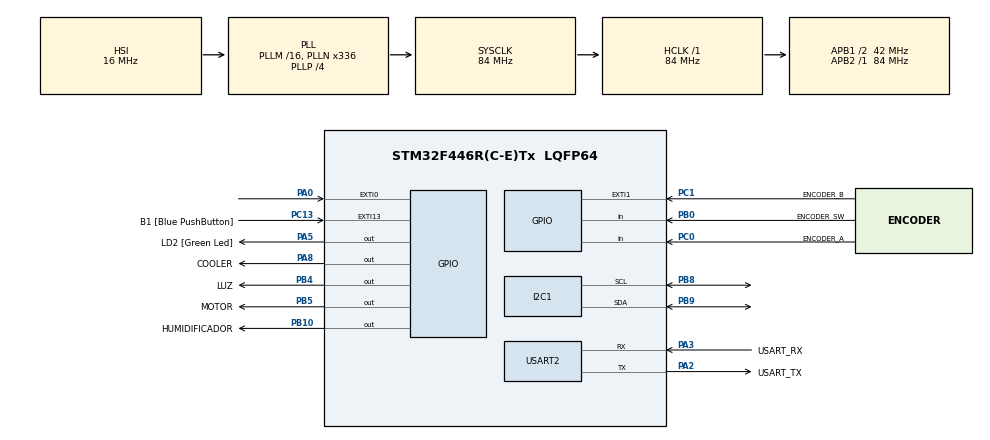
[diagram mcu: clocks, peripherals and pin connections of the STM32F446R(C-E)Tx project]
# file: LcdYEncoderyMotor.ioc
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Mcu.Family=STM32F4
FREERTOS.Queues01=menuQueue,32,uint32_t,0,Dynamic,NULL,NULL
PH0-OSC_IN.Signal=RCC_OSC_IN
VP_SYS_VS_tim6.Mode=TIM6
RCC.CortexFreq_Value=84000000
NVIC.TIM6_DAC_IRQn=true\:0\:0\:false\:false\:true\:false\:false\:true
PA14.GPIO_Label=TCK
PC0.GPIO_Label=ENCODER_A
PB0.GPIO_Label=ENCODER_SW
PC13.GPIO_Label=B1 [Blue PushButton]
RCC.SYSCLKSource=RCC_SYSCLKSOURCE_PLLCLK
ProjectManager.StackSize=0x400
NVIC.EXTI1_IRQn=true\:5\:0\:false\:false\:true\:true\:true\:true
RCC.HCLKFreq_Value=84000000
RCC.APB2TimFreq_Value=84000000
RCC.AHBFreq_Value=84000000
PH0-OSC_IN.Mode=HSE-External-Clock-Source
RCC.HSE_VALUE=8000000
PA14.Mode=Serial_Wire
PA8.Signal=GPIO_Output
VP_FREERTOS_VS_CMSIS_V1.Mode=CMSIS_V1
RCC.FLatency-AdvancedSettings=FLASH_LATENCY_2
PH1-OSC_OUT.Mode=HSE-External-Clock-Source
PB9.Signal=I2C1_SDA
Mcu.Package=LQFP64
NVIC.TimeBase=TIM6_DAC_IRQn
USART2.VirtualMode=VM_ASYNC
PA2.GPIO_Label=USART_TX
NVIC.TimeBaseIP=TIM6
PB5.GPIO_Label=MOTOR
RCC.APB1TimFreq_Value=84000000
PC0.GPIO_PuPd=GPIO_NOPULL
PB4.Signal=GPIO_Output
PA3.Signal=USART2_RX
PB3.GPIO_Label=SWO
FREERTOS.Tasks01=menuTask,0,512,StartMenuTask,Default,NULL,Dynamic,NULL,NULL;debounceTask,-3,128,StartDebounceTask,Default,NULL,Dynamic,NULL,NULL;MotorTask,-3,128,StartMotorTask,Default,NULL,Dynamic,NULL,NULL
PC13.Signal=GPXTI13
FREERTOS.configCHECK_FOR_STACK_OVERFLOW=2
PC0.Signal=GPIO_Input
RCC.APB1CLKDivider=RCC_HCLK_DIV2
PC14-OSC32_IN.Signal=RCC_OSC32_IN
PA0-WKUP.Signal=GPXTI0
PA3.Mode=Asynchronous
PA13.Signal=SYS_JTMS-SWDIO
PA8.GPIO_Label=COOLER
ProjectManager.TargetToolchain=STM32CubeIDE
PB10.GPIO_Label=HUMIDIFICADOR
PB9.Mode=I2C
RCC.USBFreq_Value=168000000
RCC.LSE_VALUE=32768
PC15-OSC32_OUT.Signal=RCC_OSC32_OUT
PB10.Signal=GPIO_Output
PA5.Signal=GPIO_Output
board=NUCLEO-F446RE
RCC.VCOOutputFreq_Value=336000000
RCC.APB2Freq_Value=84000000
PB4.GPIO_Label=LUZ
PC1.GPIO_Label=ENCODER_B
PH1-OSC_OUT.Signal=RCC_OSC_OUT
PA13.Mode=Serial_Wire
Mcu.Name=STM32F446R(C-E)Tx
PA2.Signal=USART2_TX
PA13.GPIO_Label=TMS
PB3.Signal=SYS_JTDO-SWO
NVIC.EXTI0_IRQn=true\:5\:0\:false\:false\:true\:true\:true\:true
RCC.SYSCLKFreq_VALUE=84000000
PB5.Signal=GPIO_Output
PA5.GPIO_Label=LD2 [Green Led]
PC13.GPIO_ModeDefaultEXTI=GPIO_MODE_IT_FALLING
PA14.Signal=SYS_JTCK-SWCLK
ProjectManager.HeapSize=0x200
RCC.HSI_VALUE=16000000
PA8.GPIO_PuPd=GPIO_PULLUP
RCC.PLLP=RCC_PLLP_DIV4
NVIC.PriorityGroup=NVIC_PRIORITYGROUP_4
PB8.Mode=I2C
RCC.PLLN=336
PA2.Mode=Asynchronous
PB8.Signal=I2C1_SCL
RCC.APB1Freq_Value=42000000
PB0.Signal=GPIO_Input
PC1.Signal=GPXTI1
PB0.GPIO_PuPd=GPIO_PULLUP
PA3.GPIO_Label=USART_RX

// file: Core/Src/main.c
/* USER CODE BEGIN Header */
/**
  ******************************************************************************
  * @file           : main.c
  * @brief          : Firmware Incubadora - Final (Lógica Control + Flash + UI Config)
  * - Integración completa de persistencia en Flash (Sector 7 F446RE).
  * - Control de Temperatura con Soft-PWM.
  * - Control de Humedad por estados.
  * - Menú de Configuración editable.
  * - Corrección de brillo LCD (Update on Change).
  ******************************************************************************
  */
/* USER CODE END Header */
#include "main.h"
#include "cmsis_os.h"

/* USER CODE BEGIN Includes */
#include "i2c-lcd.h"
#include <stdio.h>
#include <string.h> // Necesario para memcpy
#include "FreeRTOS.h"
#include "task.h"
/* USER CODE END Includes */

/* USER CODE BEGIN PTD */
typedef enum {
    ENCODER_RIGHT,
    ENCODER_LEFT,
    BUTTON_PRESS,
    BUTTON_LONG_PRESS
} MenuEvent_t;

typedef struct {
    char* name;          // Nombre a mostrar
    uint8_t state;       // 0 = OFF, 1 = ON
    GPIO_TypeDef* port;  // Puerto GPIO
    uint16_t pin;        // Pin GPIO
} OutputControl_t;

typedef enum {
    UI_MODE_DASHBOARD,
    UI_MODE_MAIN_MENU,
    UI_MODE_TEST_MENU,
    UI_MODE_CONFIG_EDIT
} UIMode_t;

typedef enum {
    HUM_STATE_IDLE,      // Esperando
    HUM_STATE_DOSING,    // Inyectando humedad
    HUM_STATE_COOLDOWN   // Esperando estabilización
} HumidifierState_t;

typedef struct {
    char name[12];      // "DESARROLLO"
    uint8_t end_day;    // Fin de etapa (ej. 18)
    float temp_target;  // Ej. 37.7
    float hum_target;   // Ej. 55.0
    uint8_t motor_on;   // 1 = Volteo activo
} StageConfig_t;

typedef struct {
    uint8_t total_days;      // Ciclo total (21)
    StageConfig_t stages[2]; // [0]=Desarrollo, [1]=Eclosión

    // Estado Persistente
    uint8_t is_running;         // 0=Stop, 1=Run
    uint32_t saved_timestamp;   // Minutos acumulados guardados
    uint32_t last_boot_tick;    // Referencia de tiempo (HAL_GetTick)

    // Auxiliar UI
    uint8_t current_stage_idx;  // Qué etapa estamos editando
} IncubatorData_t;

/* USER CODE END PTD */

/* USER CODE BEGIN PD */

#define DEBOUNCE_POLL_RATE_MS   5
#define DEBOUNCE_THRESHOLD      4
#define LCD_ROWS 2

// --- NUEVOS DEFINES (ESTABILIDAD & MOTOR) ---
#define LONG_PRESS_MS           2000
#define LONG_PRESS_TICKS        (LONG_PRESS_MS / DEBOUNCE_POLL_RATE_MS)
#define LCD_COMMAND_DELAY       5
#define MIN_DRAW_INTERVAL_MS    50

// --- CONFIG MOTOR (PA0) ---
#define MOTOR_SENSOR_PIN        GPIO_PIN_0
#define MOTOR_SENSOR_PORT       GPIOA
#define ENCODER_SLOTS           20
#define MOTOR_CALC_INTERVAL_MS  1000

// --- CONTROL DEFINES ---
#define DHT_READ_INTERVAL_MS    30000   // Leer sensor cada 30 seg
#define CONTROL_LOOP_MS         1000    // Recalcular lógica cada 1 seg
#define HUM_DOSE_TIME_MS        10000   // Humidificador ON 10 seg
#define HUM_COOLDOWN_TIME_MS    300000  // Espera 5 min

// EEPROM --------------

#define FLASH_USER_START_ADDR 0x08060000 // Sector 7 (F446RE)

/* USER CODE END PD */

IncubatorData_t sysData;

// Configuración de Salidas (CAMBIAR PINES SEGUN TU PLACA)
// Orden: [0]=COOLER, [1]=HUMIDIFICADOR, [2]=LUZ(CALOR), [3]=MOTOR
OutputControl_t test_outputs[] = {
    {"COOLER", 0, GPIOA, GPIO_PIN_8},  // Index 0: PA8
    {"HUMID.", 0, GPIOB, GPIO_PIN_10}, // Index 1: PB10
    {"LUZ   ", 0, GPIOB, GPIO_PIN_4},  // Index 2: PB4
    {"MOTOR ", 0, GPIOB, GPIO_PIN_5}   // Index 3: PB5
};
const int8_t test_menu_size = 4;
int8_t test_selected_item = 0;
int8_t test_top_item = 0;

I2C_HandleTypeDef hi2c1;

UART_HandleTypeDef huart2;

osThreadId menuTaskHandle;
osThreadId debounceTaskHandle;
osThreadId MotorTaskHandle;
osThreadId ControlTaskHandle; // Handle para la nueva tarea
osMessageQId menuQueueHandle;

/* USER CODE BEGIN PV */
// --- TUS VARIABLES ORIGINALES (Menú Simple) ---
char* menu_items[] = {"Ver Sensores", "Configuracion", "TEST"};
int8_t selected_item = 0;
const int8_t menu_size = 3;
int8_t menu_top_item = 0;

// --- VARIABLES DE SISTEMA ---
UIMode_t current_ui_mode = UI_MODE_DASHBOARD;
volatile uint32_t motor_pulse_count = 0;
uint16_t global_rpm = 0;

// Variables Config Edit
int8_t config_item = 0;
int8_t is_editing_val = 0;

// --- VARIABLES DE CONTROL ---
float current_temp = 0.0f;
float current_hum = 0.0f;
float last_valid_temp = 0.0f;
float last_valid_hum = 0.0f;
uint32_t last_dht_read_time = 0;
HumidifierState_t hum_state = HUM_STATE_IDLE;
/* USER CODE END PV */

void SystemClock_Config(void);
static void MX_GPIO_Init(void);
static void MX_I2C1_Init(void);
static void MX_USART2_UART_Init(void);
void StartMenuTask(void const * argument);
void StartDebounceTask(void const * argument);
void StartMotorTask(void const * argument);
void StartControlTask(void const * argument);

/* USER CODE BEGIN PFP */
void I2C_Scan(void);
void Enable_Internal_Pullups(void);
void recover_lcd(void);
void update_display(void);
void render_dashboard(void);
void render_menu(void);
void render_test_menu(void);
void render_config_edit(void);
void toggle_output(int index);

void Load_Config_From_Flash(void);
void Save_Config_To_Flash(void);

uint8_t Get_Current_Day(void);
void Get_Active_Targets(float *temp, float *hum, uint8_t *motor_on);

/* USER CODE END PFP */

/* USER CODE BEGIN 0 */

// --- FUNCIONES AUXILIARES ---

void Enable_Internal_Pullups(void) {
    GPIO_InitTypeDef GPIO_InitStruct = {0};
    __HAL_RCC_GPIOB_CLK_ENABLE();
    GPIO_InitStruct.Pin = GPIO_PIN_8 | GPIO_PIN_9;
    GPIO_InitStruct.Mode = GPIO_MODE_AF_OD;
    GPIO_InitStruct.Pull = GPIO_PULLUP;
    GPIO_InitStruct.Speed = GPIO_SPEED_FREQ_VERY_HIGH;
    GPIO_InitStruct.Alternate = GPIO_AF4_I2C1;
    HAL_GPIO_Init(GPIOB, &GPIO_InitStruct);
}

void recover_lcd(void) {
    HD44780_Init(2);
    HD44780_Clear();
    osDelay(50);
    HD44780_SetCursor(0, 0);
    HD44780_PrintStr("! PANIC RESET ! ");
    osDelay(1000);
    HD44780_Clear();
    update_display();
}

void I2C_Scan(void) {
    char info[] = "Escaneando bus I2C...\r\n";
    HAL_UART_Transmit(&huart2, (uint8_t*)info, sizeof(info) - 1, 100);
    HAL_StatusTypeDef res;
    for(uint16_t i = 0; i < 128; i++) {
        res = HAL_I2C_IsDeviceReady(&hi2c1, (uint16_t)(i << 1), 1, 10);
        if(res == HAL_OK) {
            char msg[64];
            snprintf(msg, sizeof(msg), "-> Disp: 0x%02X\r\n", i);
            HAL_UART_Transmit(&huart2, (uint8_t*)msg, strlen(msg), 100);
        }
    }
    char end_info[] = "Fin del escaneo.\r\n";
    HAL_UART_Transmit(&huart2, (uint8_t*)end_info, sizeof(end_info) - 1, 100);
}

// --- GESTIÓN DE MEMORIA FLASH (PERSISTENCIA) ---

void Load_Config_From_Flash(void) {
    IncubatorData_t *flash_data = (IncubatorData_t *)FLASH_USER_START_ADDR;

    // Chequeamos si la memoria está virgen (0xFF) o corrupta
    if (flash_data->total_days == 0xFF || flash_data->stages[0].temp_target > 100.0f) {
        // --- VALORES DE FÁBRICA ---
        sysData.total_days = 21;

        // Etapa 0: Desarrollo
        snprintf(sysData.stages[0].name, 12, "DESARROLLO");
        sysData.stages[0].end_day = 18;
        sysData.stages[0].temp_target = 37.7f;
        sysData.stages[0].hum_target = 55.0f;
        sysData.stages[0].motor_on = 1;

        // Etapa 1: Eclosión
        snprintf(sysData.stages[1].name, 12, "ECLOSION");
        sysData.stages[1].end_day = 21;
        sysData.stages[1].temp_target = 37.2f;
        sysData.stages[1].hum_target = 70.0f;
        sysData.stages[1].motor_on = 0;

        sysData.is_running = 0;
        sysData.saved_timestamp = 0;
    } else {
        // Copiar datos guardados a RAM
        memcpy(&sysData, flash_data, sizeof(IncubatorData_t));
    }
    sysData.last_boot_tick = HAL_GetTick();
}

void Save_Config_To_Flash(void) {
    HAL_FLASH_Unlock();

    FLASH_EraseInitTypeDef EraseInitStruct;
    uint32_t SectorError = 0;

    EraseInitStruct.TypeErase = FLASH_TYPEERASE_SECTORS;
    EraseInitStruct.VoltageRange = FLASH_VOLTAGE_RANGE_3;
    EraseInitStruct.Sector = FLASH_SECTOR_7;
    EraseInitStruct.NbSectors = 1;

    if (HAL_FLASHEx_Erase(&EraseInitStruct, &SectorError) != HAL_OK) {
        HAL_FLASH_Lock();
        return;
    }

    uint32_t address = FLASH_USER_START_ADDR;
    uint32_t *data_ptr = (uint32_t *)&sysData;

    // Actualizar tiempo acumulado antes de guardar
    if (sysData.is_running) {
        uint32_t current_session_min = (HAL_GetTick() - sysData.last_boot_tick) / 60000;
        sysData.saved_timestamp += current_session_min;
        sysData.last_boot_tick = HAL_GetTick();
    }

    for (int i = 0; i < sizeof(IncubatorData_t); i += 4) {
        HAL_FLASH_Program(FLASH_TYPEPROGRAM_WORD, address, *data_ptr);
        address += 4;
        data_ptr++;
    }
    HAL_FLASH_Lock();
}

// --- LÓGICA DE TIEMPO ---

uint8_t Get_Current_Day(void) {
    if (!sysData.is_running) return 0;
    uint32_t session_mins = (HAL_GetTick() - sysData.last_boot_tick) / 60000;
    uint32_t total_mins = sysData.saved_timestamp + session_mins;
    uint8_t day = (total_mins / 1440) + 1; // 1440 min = 1 dia
    return day;
}

void Get_Active_Targets(float *temp, float *hum, uint8_t *motor_on) {
    uint8_t day = Get_Current_Day();
    if (day == 0) {
        *temp = 0; *hum = 0; *motor_on = 0;
        return;
    }
    // Si estamos en etapa de desarrollo
    if (day <= sysData.stages[0].end_day) {
        *temp = sysData.stages[0].temp_target;
        *hum = sysData.stages[0].hum_target;
        *motor_on = sysData.stages[0].motor_on;
    }
    else {
        // Eclosión o fin
        *temp = sysData.stages[1].temp_target;
        *hum = sysData.stages[1].hum_target;
        *motor_on = sysData.stages[1].motor_on;
    }
}

// --- HARDWARE HELPERS ---
void toggle_output(int index) {
    if(index < 0 || index >= test_menu_size) return;
    test_outputs[index].state = !test_outputs[index].state;
    HAL_GPIO_WritePin(test_outputs[index].port, test_outputs[index].pin,
                      test_outputs[index].state ? GPIO_PIN_SET : GPIO_PIN_RESET);
}

// --- RENDERIZADO DASHBOARD (RPM) ---
void render_dashboard(void) {
    char buffer[20];
    float target_t = 0; float target_h = 0; uint8_t mon = 0;

    if (sysData.is_running) {
        Get_Active_Targets(&target_t, &target_h, &mon);
        // T:37.7/37.7
        snprintf(buffer, sizeof(buffer), "T:%04.1f/%04.1f    ", current_temp, target_t);
    } else {
        snprintf(buffer, sizeof(buffer), "T:%04.1f (PAUSA) ", current_temp);
    }

    HD44780_SetCursor(0, 0);
    HD44780_PrintStr(buffer);

    // Línea 2
    char hum_char = ' ';
    if (hum_state == HUM_STATE_DOSING) hum_char = '*';
    if (hum_state == HUM_STATE_COOLDOWN) hum_char = 'w';

    if (sysData.is_running) {
        snprintf(buffer, sizeof(buffer), "H:%02.0f%% %c D:%d  ", current_hum, hum_char, Get_Current_Day());
    } else {
        snprintf(buffer, sizeof(buffer), "H:%02.0f%% STANDBY ", current_hum);
    }

    HD44780_SetCursor(0, 1);
    HD44780_PrintStr(buffer);
}

// --- RENDERIZADO MENÚ (Tu lógica original segura) ---
void render_menu(void) {
    char line_buffer[32];
    for (int i = 0; i < LCD_ROWS; i++) {
        int item_index = menu_top_item + i;
        if (item_index < menu_size) {
            char cursor = (item_index == selected_item) ? '>' : ' ';
            // Se usa tu array de char* menu_items
            snprintf(line_buffer, sizeof(line_buffer), "%c%-15.15s", cursor, menu_items[item_index]);
        } else {
            snprintf(line_buffer, sizeof(line_buffer), "%-16s", " ");
        }
        HD44780_SetCursor(0, i);
        HD44780_PrintStr(line_buffer);
        // ELIMINADO: osDelay(LCD_COMMAND_DELAY); (Causa problemas en critical section)
    }
}

void render_test_menu(void) {
    char line_buffer[20];
    for (int i = 0; i < LCD_ROWS; i++) {
        int item_index = test_top_item + i;
        if (item_index < test_menu_size) {
            char cursor = (item_index == test_selected_item) ? '>' : ' ';
            char state_char = (test_outputs[item_index].state) ? 'X' : ' ';
            snprintf(line_buffer, sizeof(line_buffer), "%c[%c] %-9s",
                     cursor, state_char, test_outputs[item_index].name);
        } else {
            snprintf(line_buffer, sizeof(line_buffer), "%-16s", " ");
        }
        HD44780_SetCursor(0, i);
        HD44780_PrintStr(line_buffer);
    }
}

void render_config_edit(void) {
    char line1[20];
    char line2[20];
    StageConfig_t *stage = &sysData.stages[sysData.current_stage_idx];

    // L1: Título
    snprintf(line1, sizeof(line1), "CFG: %s", stage->name);

    // L2: Parámetro
    char value_str[12];
    switch(config_item) {
        case 0: snprintf(value_str, sizeof(value_str), "FinDia:%d", stage->end_day); break;
        case 1: snprintf(value_str, sizeof(value_str), "T:%.1f", stage->temp_target); break;
        case 2: snprintf(value_str, sizeof(value_str), "H:%.0f%%", stage->hum_target); break;
        case 3: snprintf(value_str, sizeof(value_str), "Mot:%s", stage->motor_on ? "ON" : "OFF"); break;
        case 4: snprintf(value_str, sizeof(value_str), "[SALIR]"); break;
    }

    if (is_editing_val && config_item != 4) {
        snprintf(line2, sizeof(line2), "%s <ADJ>", value_str);
    } else {
        snprintf(line2, sizeof(line2), "%c %s", (config_item == 4 ? '>' : ' '), value_str);
    }

    HD44780_SetCursor(0, 0);
    HD44780_PrintStr(line1);
    HD44780_SetCursor(0, 1);
    HD44780_PrintStr(line2);
}

void update_display()
{
    taskENTER_CRITICAL();
    if (current_ui_mode == UI_MODE_DASHBOARD) {
        render_dashboard();
    } else if (current_ui_mode == UI_MODE_MAIN_MENU) {
        render_menu();
    } else if (current_ui_mode == UI_MODE_TEST_MENU) {
        render_test_menu();
    } else if (current_ui_mode == UI_MODE_CONFIG_EDIT) {
        render_config_edit();
    }
    taskEXIT_CRITICAL();
}
/* USER CODE END 0 */

int main(void)
{

  /* MCU Configuration--------------------------------------------------------*/

  /* Reset of all peripherals, Initializes the Flash interface and the Systick. */
   HAL_Init();

  /* Configure the system clock */
  SystemClock_Config();

  /* Initialize all configured peripherals */
  MX_GPIO_Init();
  MX_I2C1_Init();
  MX_USART2_UART_Init();
  /* USER CODE BEGIN 2 */
  HAL_GPIO_WritePin(LD2_GPIO_Port, LD2_Pin, GPIO_PIN_SET);

  Enable_Internal_Pullups(); // Anti-ruido I2C
  I2C_Scan();                // Escaneo

  // Cargar configuración guardada
  Load_Config_From_Flash();

  HD44780_Init(2);
  HD44780_Clear();

  HD44780_SetCursor(0, 0);
  HD44780_PrintStr("TDII: INCUBADORA");

  HAL_Delay(1000);
  HD44780_SetCursor(0, 0);
  HD44780_PrintStr("                ");

  /* USER CODE END 2 */

  /* Create the queue(s) */
  osMessageQDef(menuQueue, 32, uint32_t);
  menuQueueHandle = osMessageCreate(osMessageQ(menuQueue), NULL);

  /* Create the thread(s) */
  osThreadDef(menuTask, StartMenuTask, osPriorityNormal, 0, 1024);
  menuTaskHandle = osThreadCreate(osThread(menuTask), NULL);

  osThreadDef(debounceTask, StartDebounceTask, osPriorityIdle, 0, 128);
  debounceTaskHandle = osThreadCreate(osThread(debounceTask), NULL);

  osThreadDef(MotorTask, StartMotorTask, osPriorityNormal, 0, 256);
  MotorTaskHandle = osThreadCreate(osThread(MotorTask), NULL);

  // Nueva Tarea de Control
  osThreadDef(ControlTask, StartControlTask, osPriorityNormal, 0, 512);
  ControlTaskHandle = osThreadCreate(osThread(ControlTask), NULL);

  /* Start scheduler */
  osKernelStart();

  /* We should never get here as control is now taken by the scheduler */
  while (1)
  {
  }
}

void SystemClock_Config(void)
{
  RCC_OscInitTypeDef RCC_OscInitStruct = {0};
  RCC_ClkInitTypeDef RCC_ClkInitStruct = {0};

  __HAL_RCC_PWR_CLK_ENABLE();
  __HAL_PWR_VOLTAGESCALING_CONFIG(PWR_REGULATOR_VOLTAGE_SCALE3);
  RCC_OscInitStruct.OscillatorType = RCC_OSCILLATORTYPE_HSI;
  RCC_OscInitStruct.HSIState = RCC_HSI_ON;
  RCC_OscInitStruct.HSICalibrationValue = RCC_HSICALIBRATION_DEFAULT;
  RCC_OscInitStruct.PLL.PLLState = RCC_PLL_ON;
  RCC_OscInitStruct.PLL.PLLSource = RCC_PLLSOURCE_HSI;
  RCC_OscInitStruct.PLL.PLLM = 16;
  RCC_OscInitStruct.PLL.PLLN = 336;
  RCC_OscInitStruct.PLL.PLLP = RCC_PLLP_DIV4;
  RCC_OscInitStruct.PLL.PLLQ = 2;
  RCC_OscInitStruct.PLL.PLLR = 2;
  if (HAL_RCC_OscConfig(&RCC_OscInitStruct) != HAL_OK)
  {
    Error_Handler();
  }
  RCC_ClkInitStruct.ClockType = RCC_CLOCKTYPE_HCLK|RCC_CLOCKTYPE_SYSCLK
                              |RCC_CLOCKTYPE_PCLK1|RCC_CLOCKTYPE_PCLK2;
  RCC_ClkInitStruct.SYSCLKSource = RCC_SYSCLKSOURCE_PLLCLK;
  RCC_ClkInitStruct.AHBCLKDivider = RCC_SYSCLK_DIV1;
  RCC_ClkInitStruct.APB1CLKDivider = RCC_HCLK_DIV2;
  RCC_ClkInitStruct.APB2CLKDivider = RCC_HCLK_DIV1;

  if (HAL_RCC_ClockConfig(&RCC_ClkInitStruct, FLASH_LATENCY_2) != HAL_OK)
  {
    Error_Handler();
  }
}

static void MX_I2C1_Init(void)
{
  hi2c1.Instance = I2C1;
  hi2c1.Init.ClockSpeed = 100000;
  hi2c1.Init.DutyCycle = I2C_DUTYCYCLE_2;
  hi2c1.Init.OwnAddress1 = 0;
  hi2c1.Init.AddressingMode = I2C_ADDRESSINGMODE_7BIT;
  hi2c1.Init.DualAddressMode = I2C_DUALADDRESS_DISABLE;
  hi2c1.Init.OwnAddress2 = 0;
  hi2c1.Init.GeneralCallMode = I2C_GENERALCALL_DISABLE;
  hi2c1.Init.NoStretchMode = I2C_NOSTRETCH_DISABLE;
  if (HAL_I2C_Init(&hi2c1) != HAL_OK)
  {
    Error_Handler();
  }
}

static void MX_USART2_UART_Init(void)
{
  huart2.Instance = USART2;
  huart2.Init.BaudRate = 115200;
  huart2.Init.WordLength = UART_WORDLENGTH_8B;
  huart2.Init.StopBits = UART_STOPBITS_1;
  huart2.Init.Parity = UART_PARITY_NONE;
  huart2.Init.Mode = UART_MODE_TX_RX;
  huart2.Init.HwFlowCtl = UART_HWCONTROL_NONE;
  huart2.Init.OverSampling = UART_OVERSAMPLING_16;
  if (HAL_UART_Init(&huart2) != HAL_OK)
  {
    Error_Handler();
  }
}

static void MX_GPIO_Init(void)
{
  GPIO_InitTypeDef GPIO_InitStruct = {0};

  __HAL_RCC_GPIOC_CLK_ENABLE();
  __HAL_RCC_GPIOH_CLK_ENABLE();
  __HAL_RCC_GPIOA_CLK_ENABLE();
  __HAL_RCC_GPIOB_CLK_ENABLE();

  /* Configure GPIO pin Output Level */
  HAL_GPIO_WritePin(LD2_GPIO_Port, LD2_Pin, GPIO_PIN_RESET);

  /* Configure GPIO pin Output Level - INICIO PINES ACTUADORES */
  // Aseguramos que arranquen apagados (Low)
  HAL_GPIO_WritePin(GPIOA, GPIO_PIN_8, GPIO_PIN_RESET);
  HAL_GPIO_WritePin(GPIOB, GPIO_PIN_10|GPIO_PIN_4|GPIO_PIN_5, GPIO_PIN_RESET);

  /* Configure GPIO pin : B1_Pin */
  GPIO_InitStruct.Pin = B1_Pin;
  GPIO_InitStruct.Mode = GPIO_MODE_IT_FALLING;
  GPIO_InitStruct.Pull = GPIO_NOPULL;
  HAL_GPIO_Init(B1_GPIO_Port, &GPIO_InitStruct);

  /* Configure GPIO pins : PA8 (COOLER) */
  GPIO_InitStruct.Pin = GPIO_PIN_8;
  GPIO_InitStruct.Mode = GPIO_MODE_OUTPUT_PP;
  GPIO_InitStruct.Pull = GPIO_NOPULL;
  GPIO_InitStruct.Speed = GPIO_SPEED_FREQ_LOW;
  HAL_GPIO_Init(GPIOA, &GPIO_InitStruct);

  /* Configure GPIO pins : PB10 (HUMID), PB4 (LUZ), PB5 (MOTOR) */
  GPIO_InitStruct.Pin = GPIO_PIN_10|GPIO_PIN_4|GPIO_PIN_5;
  GPIO_InitStruct.Mode = GPIO_MODE_OUTPUT_PP;
  GPIO_InitStruct.Pull = GPIO_NOPULL;
  GPIO_InitStruct.Speed = GPIO_SPEED_FREQ_LOW;
  HAL_GPIO_Init(GPIOB, &GPIO_InitStruct);

  /* Configure GPIO pins : ENCODER_A_Pin ENCODER_B_Pin */
  GPIO_InitStruct.Pin = ENCODER_A_Pin|ENCODER_B_Pin;
  GPIO_InitStruct.Mode = GPIO_MODE_IT_RISING;
  GPIO_InitStruct.Pull = GPIO_NOPULL;
  HAL_GPIO_Init(GPIOC, &GPIO_InitStruct);

  /* Configure GPIO pin : LD2_Pin */
  GPIO_InitStruct.Pin = LD2_Pin;
  GPIO_InitStruct.Mode = GPIO_MODE_OUTPUT_PP;
  GPIO_InitStruct.Pull = GPIO_NOPULL;
  GPIO_InitStruct.Speed = GPIO_SPEED_FREQ_LOW;
  HAL_GPIO_Init(LD2_GPIO_Port, &GPIO_InitStruct);

  /* Configure GPIO pin : ENCODER_SW_Pin */
  GPIO_InitStruct.Pin = ENCODER_SW_Pin;
  GPIO_InitStruct.Mode = GPIO_MODE_INPUT;
  GPIO_InitStruct.Pull = GPIO_PULLUP;
  HAL_GPIO_Init(ENCODER_SW_GPIO_Port, &GPIO_InitStruct);

  /* Configure GPIO pin : MOTOR_SENSOR_PIN */
  GPIO_InitStruct.Pin = MOTOR_SENSOR_PIN;
  GPIO_InitStruct.Mode = GPIO_MODE_IT_RISING;
  GPIO_InitStruct.Pull = GPIO_NOPULL;
  HAL_GPIO_Init(MOTOR_SENSOR_PORT, &GPIO_InitStruct);

  /* EXTI interrupt init*/
  HAL_NVIC_SetPriority(EXTI0_IRQn, 0, 0);
  HAL_NVIC_EnableIRQ(EXTI0_IRQn);

  HAL_NVIC_SetPriority(EXTI1_IRQn, 5, 0);
  HAL_NVIC_EnableIRQ(EXTI1_IRQn);
}

/* USER CODE BEGIN 4 */

void vApplicationStackOverflowHook(TaskHandle_t xTask, char *pcTaskName)
{
   while(1)
   {
      HAL_GPIO_TogglePin(LD2_GPIO_Port, LD2_Pin);
      HAL_Delay(50);
   }
}

void HAL_GPIO_EXTI_Callback(uint16_t GPIO_Pin)
{
    if (GPIO_Pin == MOTOR_SENSOR_PIN) {
        motor_pulse_count++;
        return;
    }

    if (GPIO_Pin == ENCODER_A_Pin || GPIO_Pin == ENCODER_B_Pin) {
        static uint8_t last_state = 0;
        static int8_t counter = 0;

        uint8_t state_A = HAL_GPIO_ReadPin(ENCODER_A_GPIO_Port, ENCODER_A_Pin);
        uint8_t state_B = HAL_GPIO_ReadPin(ENCODER_B_GPIO_Port, ENCODER_B_Pin);
        uint8_t current_state = (state_A << 1) | state_B;

        if (current_state == last_state) return;

        const int8_t transition_table[16] = {
             0, -1,  1,  0,
             1,  0,  0, -1,
            -1,  0,  0,  1,
             0,  1, -1,  0,
        };

        int8_t transition = transition_table[(last_state << 2) | current_state];

        if (transition != 0) {
            counter += transition;
            if (counter >= 4) {
                MenuEvent_t event = ENCODER_RIGHT;
                osMessagePut(menuQueueHandle, (uint32_t)event, 0);
                counter -= 4;
            } else if (counter <= -4) {
                MenuEvent_t event = ENCODER_LEFT;
                osMessagePut(menuQueueHandle, (uint32_t)event, 0);
                counter += 4;
            }
        }
        last_state = current_state;
    }
}

/* USER CODE END 4 */

/* USER CODE BEGIN Header_StartMenuTask */
void StartMenuTask(void const * argument)
{
  /* USER CODE BEGIN 5 */
    update_display();

    osEvent event;
    uint32_t last_draw_time = 0;
    int needs_update = 0;

    // Variables para "Update on Change" del Dashboard
    float last_disp_temp = -999.0f;
    float last_disp_hum = -999.0f;
    uint16_t last_disp_rpm = 9999;
    HumidifierState_t last_disp_hum_state = HUM_STATE_IDLE;
    uint8_t last_disp_day = 255;
    uint8_t last_disp_is_running = 255;

    for(;;)
    {
        // Timeout de 200ms para chequear cambios frecuentemente sin saturar I2C
        event = osMessageGet(menuQueueHandle, 200);

        if (event.status == osEventMessage) {
            MenuEvent_t initial_event = (MenuEvent_t)event.value.v;

            if (initial_event == BUTTON_LONG_PRESS) {
                // Volver atrás / Reset
                if (current_ui_mode == UI_MODE_TEST_MENU || current_ui_mode == UI_MODE_CONFIG_EDIT) {
                    current_ui_mode = UI_MODE_MAIN_MENU;
                } else if (current_ui_mode == UI_MODE_MAIN_MENU) {
                    current_ui_mode = UI_MODE_DASHBOARD;
                }
                needs_update = 1;
                continue;
            }

            int8_t net_movement = 0;
            int button_pressed = 0;

            if (initial_event == ENCODER_RIGHT) net_movement++;
            else if (initial_event == ENCODER_LEFT) net_movement--;
            else if (initial_event == BUTTON_PRESS) button_pressed = 1;

            int batch_limit = 20;
            while (batch_limit-- > 0 && (event = osMessageGet(menuQueueHandle, 0)).status == osEventMessage) {
                MenuEvent_t batch_evt = (MenuEvent_t)event.value.v;
                if (batch_evt == ENCODER_RIGHT) net_movement++;
                else if (batch_evt == ENCODER_LEFT) net_movement--;
            }

            // --- LÓGICA DE INTERFAZ ---

            if (current_ui_mode == UI_MODE_DASHBOARD) {
                if (button_pressed) {
                    current_ui_mode = UI_MODE_MAIN_MENU;
                    selected_item = 0;
                    needs_update = 1;
                }
            }
            else if (current_ui_mode == UI_MODE_MAIN_MENU) {
                // Navegación Menú Principal
                if (net_movement != 0) {
                    int16_t new_pos = selected_item + net_movement;
                    selected_item = ((new_pos % menu_size) + menu_size) % menu_size;

                    if (selected_item >= menu_top_item + LCD_ROWS) menu_top_item = selected_item - (LCD_ROWS - 1);
                    else if (selected_item < menu_top_item) menu_top_item = selected_item;
                    needs_update = 1;
                }
                if (button_pressed) {
                    if (selected_item == 1) { // Configuracion
                        current_ui_mode = UI_MODE_CONFIG_EDIT;
                        sysData.current_stage_idx = 0; // Default Etapa 1
                        config_item = 0;
                        is_editing_val = 0;
                    } else if (selected_item == 2) { // Test
                        current_ui_mode = UI_MODE_TEST_MENU;
                        test_selected_item = 0;
                    } else { // Ver Sensores (Volver)
                        current_ui_mode = UI_MODE_DASHBOARD;
                    }
                    needs_update = 1;
                }
            }
            else if (current_ui_mode == UI_MODE_TEST_MENU) {
                // Menú Test
                if (net_movement != 0) {
                    int16_t new_pos = test_selected_item + net_movement;
                    test_selected_item = ((new_pos % test_menu_size) + test_menu_size) % test_menu_size;
                    if (test_selected_item >= test_top_item + LCD_ROWS) test_top_item = test_selected_item - (LCD_ROWS - 1);
                    else if (test_selected_item < test_top_item) test_top_item = test_selected_item;
                    needs_update = 1;
                }
                if (button_pressed) {
                    toggle_output(test_selected_item);
                    needs_update = 1;
                }
            }
            else if (current_ui_mode == UI_MODE_CONFIG_EDIT) {
                // Editor de Configuración
                if (button_pressed) {
                    if (config_item == 4) { // SALIR
                        Save_Config_To_Flash(); // Guardar cambios
                        current_ui_mode = UI_MODE_MAIN_MENU;
                    } else {
                        is_editing_val = !is_editing_val; // Toggle edición
                    }
                    needs_update = 1;
                }

                if (net_movement != 0) {
                    if (!is_editing_val) {
                        config_item += net_movement;
                        if (config_item < 0) config_item = 4;
                        if (config_item > 4) config_item = 0;
                    } else {
                        // Modificar valores
                        StageConfig_t *st = &sysData.stages[sysData.current_stage_idx];
                        switch(config_item) {
                            case 0: st->end_day += net_movement;
                                    if(st->end_day < 1) st->end_day = 1;
                                    break;
                            case 1: st->temp_target += (net_movement * 0.1f); break;
                            case 2: st->hum_target += (net_movement * 1.0f); break;
                            case 3: if(net_movement!=0) st->motor_on = !st->motor_on; break;
                        }
                    }
                    needs_update = 1;
                }
            }
        }
        else if (event.status == osEventTimeout) {
            // Chequeo inteligente de cambios
            if (current_ui_mode == UI_MODE_DASHBOARD) {
                // Obtenemos valores actuales para comparar
                uint8_t day = Get_Current_Day();

                // Comparamos con la última vez que dibujamos
                if (current_temp != last_disp_temp ||
                    current_hum != last_disp_hum ||
                    global_rpm != last_disp_rpm ||
                    hum_state != last_disp_hum_state ||
                    day != last_disp_day ||
                    sysData.is_running != last_disp_is_running)
                {
                    needs_update = 1;
                }
            }
        }

        uint32_t current_time = HAL_GetTick();
        if (needs_update && (current_time - last_draw_time >= MIN_DRAW_INTERVAL_MS)) {

            // Actualizamos referencias ANTES de dibujar
            if (current_ui_mode == UI_MODE_DASHBOARD) {
                last_disp_temp = current_temp;
                last_disp_hum = current_hum;
                last_disp_rpm = global_rpm;
                last_disp_hum_state = hum_state;
                last_disp_day = Get_Current_Day();
                last_disp_is_running = sysData.is_running;
            }

            update_display();
            last_draw_time = current_time;
            needs_update = 0;
        }
    }
  /* USER CODE END 5 */
}

/* USER CODE BEGIN Header_StartDebounceTask */
void StartDebounceTask(void const * argument)
{
  /* USER CODE BEGIN StartDebounceTask */
    uint8_t integrator = 0;
    uint8_t prev_state = 1;
    uint32_t hold_counter = 0;
    uint8_t long_press_sent = 0;

    for(;;)
    {
        osDelay(DEBOUNCE_POLL_RATE_MS);
        uint8_t pin_state = HAL_GPIO_ReadPin(ENCODER_SW_GPIO_Port, ENCODER_SW_Pin);

        if (pin_state == GPIO_PIN_RESET) {
            if (integrator < DEBOUNCE_THRESHOLD) integrator++;
        } else {
            if (integrator > 0) integrator--;
        }

        if (integrator >= DEBOUNCE_THRESHOLD && prev_state == 1) {
            prev_state = 0;
            hold_counter = 0;
            long_press_sent = 0;
            MenuEvent_t event = BUTTON_PRESS;
            osMessagePut(menuQueueHandle, (uint32_t)event, 0);
        }
        else if (prev_state == 0 && integrator >= DEBOUNCE_THRESHOLD) {
            hold_counter++;
            if (hold_counter >= LONG_PRESS_TICKS && long_press_sent == 0) {
                long_press_sent = 1;
                MenuEvent_t event = BUTTON_LONG_PRESS;
                osMessagePut(menuQueueHandle, (uint32_t)event, 0);
            }
        }
        else if (integrator == 0 && prev_state == 0) {
            prev_state = 1;
        }
    }
  /* USER CODE END StartDebounceTask */
}

/* USER CODE BEGIN Header_StartMotorTask */
void StartMotorTask(void const * argument)
{
    uint32_t pulses_snapshot = 0;
    for(;;)
    {
        osDelay(MOTOR_CALC_INTERVAL_MS);
        taskENTER_CRITICAL();
        pulses_snapshot = motor_pulse_count;
        motor_pulse_count = 0;
        taskEXIT_CRITICAL();
        uint32_t calculated_rpm = (pulses_snapshot * 60 * 1000) / (ENCODER_SLOTS * MOTOR_CALC_INTERVAL_MS);
        global_rpm = (uint16_t)calculated_rpm;
    }
}

void StartControlTask(void const * argument)
{
    // Inicio: Asegurar todo apagado
    HAL_GPIO_WritePin(test_outputs[0].port, test_outputs[0].pin, GPIO_PIN_SET);
    HAL_GPIO_WritePin(test_outputs[1].port, test_outputs[1].pin, GPIO_PIN_SET);
    HAL_GPIO_WritePin(test_outputs[2].port, test_outputs[2].pin, GPIO_PIN_SET);
    HAL_GPIO_WritePin(test_outputs[3].port, test_outputs[3].pin, GPIO_PIN_SET);

    float target_t = 0;
    float target_h = 0;
    uint8_t motor_enabled = 0;
    uint32_t hum_timer_start = 0;

    for(;;)
    {
        uint32_t now = HAL_GetTick();

        // 1. Obtener Objetivos
        Get_Active_Targets(&target_t, &target_h, &motor_enabled);

        // Si estamos pausados o en menu de edición, no controlamos agresivamente
        if (target_t == 0) {
            osDelay(1000);
            continue;
        }

        // 2. Leer Sensor (Simulado o Real) cada 30s
        if ((now - last_dht_read_time) >= DHT_READ_INTERVAL_MS) {
            // SIMULACION (REEMPLAZAR CON DHT11_Read)
            // Si la luz está prendida, sube temp
            if (HAL_GPIO_ReadPin(test_outputs[2].port, test_outputs[2].pin)) last_valid_temp += 0.2f;
            else last_valid_temp -= 0.1f;
            if(last_valid_temp < 20) last_valid_temp = 20;

            // Actualizamos globales
            current_temp = last_valid_temp;
            current_hum = last_valid_hum;
            last_dht_read_time = now;
        }

        // 3. Control Temperatura (Soft PWM / Histéresis)
        float error_temp = target_t - last_valid_temp;

        if (error_temp > 0.5f) {
            // Frío -> Calefactor ON
            HAL_GPIO_WritePin(test_outputs[2].port, test_outputs[2].pin, GPIO_PIN_RESET);
            HAL_GPIO_WritePin(test_outputs[0].port, test_outputs[0].pin, GPIO_PIN_SET);
        }
        else if (error_temp > 0.0f && error_temp <= 0.5f) {
            // Zona PWM (15s ON / 15s OFF)
            if ((now - last_dht_read_time) < 15000) {
                HAL_GPIO_WritePin(test_outputs[2].port, test_outputs[2].pin, GPIO_PIN_RESET);
            } else {
                HAL_GPIO_WritePin(test_outputs[2].port, test_outputs[2].pin, GPIO_PIN_SET);
            }
        } else {
            // Calor -> Calefactor OFF
            HAL_GPIO_WritePin(test_outputs[2].port, test_outputs[2].pin, GPIO_PIN_SET);
            // Seguridad Cooler
            if (last_valid_temp > (target_t + 1.0f)) {
                HAL_GPIO_WritePin(test_outputs[0].port, test_outputs[0].pin, GPIO_PIN_RESET);
            } else {
                HAL_GPIO_WritePin(test_outputs[0].port, test_outputs[0].pin, GPIO_PIN_SET);
            }
        }

        // 4. Control Humedad
        switch (hum_state) {
            case HUM_STATE_IDLE:
                if (last_valid_hum < (target_h - 5.0f)) {
                    HAL_GPIO_WritePin(test_outputs[1].port, test_outputs[1].pin, GPIO_PIN_RESET);
                    hum_timer_start = now;
                    hum_state = HUM_STATE_DOSING;
                }
                break;
            case HUM_STATE_DOSING:
                if ((now - hum_timer_start) >= HUM_DOSE_TIME_MS) {
                    HAL_GPIO_WritePin(test_outputs[1].port, test_outputs[1].pin, GPIO_PIN_SET);
                    hum_timer_start = now;
                    hum_state = HUM_STATE_COOLDOWN;
                }
                break;
            case HUM_STATE_COOLDOWN:
                if ((now - hum_timer_start) >= HUM_COOLDOWN_TIME_MS) {
                    hum_state = HUM_STATE_IDLE;
                }
                break;
        }

        osDelay(CONTROL_LOOP_MS);
    }
}

void HAL_TIM_PeriodElapsedCallback(TIM_HandleTypeDef *htim)
{
  if (htim->Instance == TIM6) {
    HAL_IncTick();
  }
}

void Error_Handler(void)
{
  __disable_irq();
  while (1) { }
}
